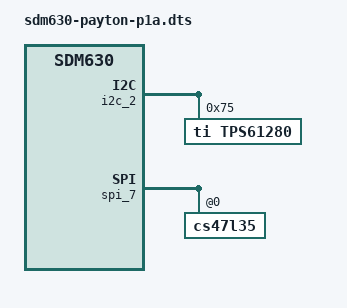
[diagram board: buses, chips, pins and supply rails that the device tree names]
/dts-v1/;

// Moto X4 (payton) - P1A board revision
#include "sdm630-payton.dtsi"

/ {
	qcom,board-id = <0x41 0x81A0>;
};

&i2c_2 { /* BLSP1 QUP2 */
	tps61280@75 {
		compatible = "ti,tps61280";
		reg = <0x75>;
		ti,config = <0x0D>;
		ti,vout-floor = <0x0D>;
		ti,vout-roof = <0x19>;
		ti,ilim = <0x0F>;
		pinctrl-names = "default";
		pinctrl-0 = <&tps61280_en_default>;
	};
};

&spi_7 {
	cs47l35: cs47l35@0 {
		cirrus,accdet {
			acc@1 {
				/delete-property/ cirrus,jd-check-jd2;
				cirrus,micd-clamp-mode = <0x4>;
			};
		};
	};
};
